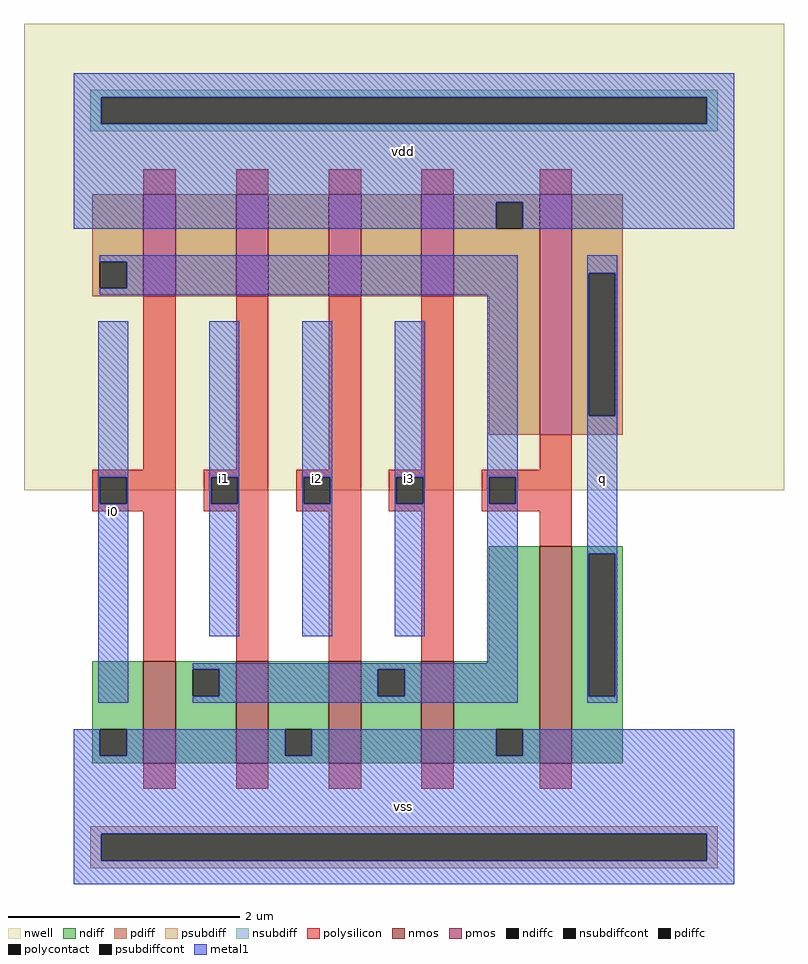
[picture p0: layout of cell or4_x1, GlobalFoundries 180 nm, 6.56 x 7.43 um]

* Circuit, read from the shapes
.subckt or4_x1 vss vdd i0 i1 i2 i3 q
XM1 n1 i0 vss vss nfet_03v3 w=0.88u l=0.28u
XM2 vss i1 n1 vss nfet_03v3 w=0.88u l=0.28u
XM3 n1 i2 vss vss nfet_03v3 w=0.88u l=0.28u
XM4 vss i3 n1 vss nfet_03v3 w=0.88u l=0.28u
XM5 q n1 vss vss nfet_03v3 w=1.875u l=0.28u
XM6 n2 i0 n1 vdd pfet_03v3 w=0.88u l=0.28u
XM7 n3 i1 n2 vdd pfet_03v3 w=0.88u l=0.28u
XM8 n4 i2 n3 vdd pfet_03v3 w=0.88u l=0.28u
XM9 vdd i3 n4 vdd pfet_03v3 w=0.88u l=0.28u
XM10 q n1 vdd vdd pfet_03v3 w=2.075u l=0.28u
.ends

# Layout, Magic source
magic
tech gf180mcuD
magscale 1 10
<< nwell >>
rect -86 680 1226 1486
<< nmos >>
rect 120 209 176 385
rect 280 209 336 385
rect 440 209 496 385
rect 600 209 656 385
rect 804 209 860 584
<< pmos >>
rect 120 1015 176 1191
rect 280 1015 336 1191
rect 440 1015 496 1191
rect 600 1015 656 1191
rect 804 776 860 1191
<< ndiff >>
rect 716 385 804 584
rect 32 268 120 385
rect 32 222 45 268
rect 91 222 120 268
rect 32 209 120 222
rect 176 371 280 385
rect 176 325 205 371
rect 251 325 280 371
rect 176 209 280 325
rect 336 268 440 385
rect 336 222 365 268
rect 411 222 440 268
rect 336 209 440 222
rect 496 371 600 385
rect 496 325 525 371
rect 571 325 600 371
rect 496 209 600 325
rect 656 268 804 385
rect 656 222 729 268
rect 775 222 804 268
rect 656 209 804 222
rect 860 571 948 584
rect 860 325 889 571
rect 935 325 948 571
rect 860 209 948 325
<< pdiff >>
rect 32 1075 120 1191
rect 32 1029 45 1075
rect 91 1029 120 1075
rect 32 1015 120 1029
rect 176 1015 280 1191
rect 336 1015 440 1191
rect 496 1015 600 1191
rect 656 1178 804 1191
rect 656 1132 729 1178
rect 775 1132 804 1178
rect 656 1015 804 1132
rect 716 776 804 1015
rect 860 1055 948 1191
rect 860 809 889 1055
rect 935 809 948 1055
rect 860 776 948 809
<< ndiffc >>
rect 45 222 91 268
rect 205 325 251 371
rect 365 222 411 268
rect 525 325 571 371
rect 729 222 775 268
rect 889 325 935 571
<< pdiffc >>
rect 45 1029 91 1075
rect 729 1132 775 1178
rect 889 809 935 1055
<< psubdiff >>
rect 28 87 1112 100
rect 28 41 47 87
rect 1093 41 1112 87
rect 28 28 1112 41
<< nsubdiff >>
rect 28 1359 1112 1372
rect 28 1313 47 1359
rect 1093 1313 1112 1359
rect 28 1300 1112 1313
<< psubdiffcont >>
rect 47 41 1093 87
<< nsubdiffcont >>
rect 47 1313 1093 1359
<< polysilicon >>
rect 120 1191 176 1235
rect 280 1191 336 1235
rect 440 1191 496 1235
rect 600 1191 656 1235
rect 804 1191 860 1235
rect 120 716 176 1015
rect 280 716 336 1015
rect 440 716 496 1015
rect 600 716 656 1015
rect 804 716 860 776
rect 32 703 176 716
rect 32 657 45 703
rect 91 657 176 703
rect 32 644 176 657
rect 224 703 336 716
rect 224 657 237 703
rect 283 657 336 703
rect 224 644 336 657
rect 384 703 496 716
rect 384 657 397 703
rect 443 657 496 703
rect 384 644 496 657
rect 544 703 656 716
rect 544 657 557 703
rect 603 657 656 703
rect 544 644 656 657
rect 704 703 860 716
rect 704 657 717 703
rect 763 657 860 703
rect 704 644 860 657
rect 120 385 176 644
rect 280 385 336 644
rect 440 385 496 644
rect 600 385 656 644
rect 804 584 860 644
rect 120 165 176 209
rect 280 165 336 209
rect 440 165 496 209
rect 600 165 656 209
rect 804 165 860 209
<< polycontact >>
rect 45 657 91 703
rect 237 657 283 703
rect 397 657 443 703
rect 557 657 603 703
rect 717 657 763 703
<< metal1 >>
rect 0 1359 1140 1400
rect 0 1313 47 1359
rect 1093 1313 1140 1359
rect 0 1178 1140 1313
rect 0 1132 729 1178
rect 775 1132 1140 1178
rect 45 1075 766 1086
rect 91 1029 766 1075
rect 45 1018 766 1029
rect 42 703 94 972
rect 42 657 45 703
rect 91 657 94 703
rect 42 314 94 657
rect 234 703 286 972
rect 234 657 237 703
rect 283 657 286 703
rect 234 428 286 657
rect 394 703 446 972
rect 394 657 397 703
rect 443 657 446 703
rect 394 428 446 657
rect 554 703 606 972
rect 554 657 557 703
rect 603 657 606 703
rect 554 428 606 657
rect 714 703 766 1018
rect 714 657 717 703
rect 763 657 766 703
rect 714 382 766 657
rect 205 371 766 382
rect 251 325 525 371
rect 571 325 766 371
rect 205 314 766 325
rect 886 1055 938 1086
rect 886 809 889 1055
rect 935 809 938 1055
rect 886 571 938 809
rect 886 325 889 571
rect 935 325 938 571
rect 886 314 938 325
rect 0 222 45 268
rect 91 222 365 268
rect 411 222 729 268
rect 775 222 1140 268
rect 0 87 1140 222
rect 0 41 47 87
rect 1093 41 1140 87
rect 0 0 1140 41
<< labels >>
rlabel metal1 s 0 0 1140 268 4 vss
port 3 nsew
rlabel metal1 s 0 1132 1140 1400 4 vdd
port 5 nsew
rlabel metal1 s 42 314 94 972 4 i0
port 7 nsew
rlabel metal1 s 234 428 286 972 4 i1
port 9 nsew
rlabel metal1 s 394 428 446 972 4 i2
port 11 nsew
rlabel metal1 s 554 428 606 972 4 i3
port 13 nsew
rlabel metal1 s 886 314 938 1086 4 q
port 15 nsew
<< end >>
